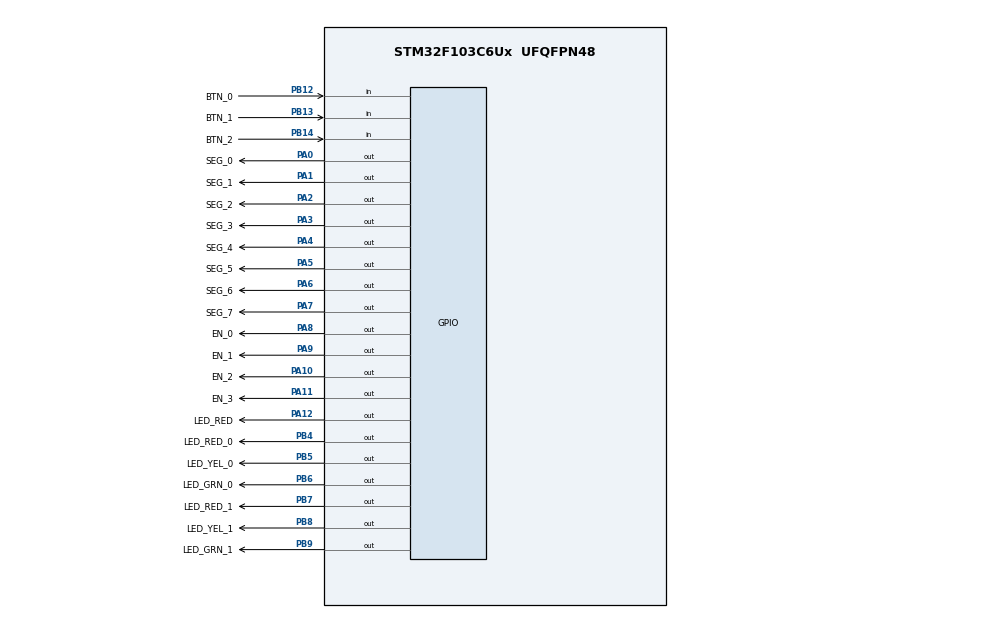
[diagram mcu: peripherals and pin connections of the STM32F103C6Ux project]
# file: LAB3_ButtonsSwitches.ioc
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Mcu.Family=STM32F1
Mcu.Name=STM32F103C6Ux
Mcu.Package=UFQFPN48
NVIC.PriorityGroup=NVIC_PRIORITYGROUP_4
NVIC.TIM2_IRQn=true\:0\:0\:false\:false\:true\:true\:true
PA0-WKUP.GPIO_Label=SEG_0
PA0-WKUP.PinState=GPIO_PIN_RESET
PA0-WKUP.Signal=GPIO_Output
PA1.GPIO_Label=SEG_1
PA1.PinState=GPIO_PIN_RESET
PA1.Signal=GPIO_Output
PA10.GPIO_Label=EN_2
PA10.PinState=GPIO_PIN_SET
PA10.Signal=GPIO_Output
PA11.GPIO_Label=EN_3
PA11.PinState=GPIO_PIN_SET
PA11.Signal=GPIO_Output
PA12.GPIO_Label=LED_RED
PA12.Signal=GPIO_Output
PA13.Mode=Serial_Wire
PA13.Signal=SYS_JTMS-SWDIO
PA14.Mode=Serial_Wire
PA14.Signal=SYS_JTCK-SWCLK
PA2.GPIO_Label=SEG_2
PA2.PinState=GPIO_PIN_RESET
PA2.Signal=GPIO_Output
PA3.GPIO_Label=SEG_3
PA3.PinState=GPIO_PIN_RESET
PA3.Signal=GPIO_Output
PA4.GPIO_Label=SEG_4
PA4.PinState=GPIO_PIN_RESET
PA4.Signal=GPIO_Output
PA5.GPIO_Label=SEG_5
PA5.PinState=GPIO_PIN_RESET
PA5.Signal=GPIO_Output
PA6.GPIO_Label=SEG_6
PA6.PinState=GPIO_PIN_RESET
PA6.Signal=GPIO_Output
PA7.GPIO_Label=SEG_7
PA7.PinState=GPIO_PIN_RESET
PA7.Signal=GPIO_Output
PA8.GPIO_Label=EN_0
PA8.PinState=GPIO_PIN_SET
PA8.Signal=GPIO_Output
PA9.GPIO_Label=EN_1
PA9.PinState=GPIO_PIN_SET
PA9.Signal=GPIO_Output
PB12.GPIO_Label=BTN_0
PB12.GPIO_PuPd=GPIO_NOPULL
PB12.Signal=GPIO_Input
PB13.GPIO_Label=BTN_1
PB13.Signal=GPIO_Input
PB14.GPIO_Label=BTN_2
PB14.Signal=GPIO_Input
PB4.GPIO_Label=LED_RED_0
PB4.Signal=GPIO_Output
PB5.GPIO_Label=LED_YEL_0
PB5.Signal=GPIO_Output
PB6.GPIO_Label=LED_GRN_0
PB6.Signal=GPIO_Output
PB7.GPIO_Label=LED_RED_1
PB7.Signal=GPIO_Output
PB8.GPIO_Label=LED_YEL_1
PB8.Signal=GPIO_Output
PB9.GPIO_Label=LED_GRN_1
PB9.Signal=GPIO_Output
ProjectManager.HeapSize=0x200
ProjectManager.StackSize=0x400
ProjectManager.TargetToolchain=STM32CubeIDE
RCC.APB1Freq_Value=8000000
RCC.APB2Freq_Value=8000000
TIM2.Period=9
TIM2.Prescaler=799
VP_TIM2_VS_ClockSourceINT.Mode=Internal
board=custom

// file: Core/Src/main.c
/* USER CODE BEGIN Header */
/**
  ******************************************************************************
  * @file           : main.c
  * @brief          : Main program body
  ******************************************************************************
  * @attention
  *
  * <h2><center>&copy; Copyright (c) 2024 STMicroelectronics.
  * All rights reserved.</center></h2>
  *
  * This software component is licensed by ST under BSD 3-Clause license,
  * the "License"; You may not use this file except in compliance with the
  * License. You may obtain a copy of the License at:
  *                        opensource.org/licenses/BSD-3-Clause
  *
  ******************************************************************************
  */
/* USER CODE END Header */
#include "main.h"

/* USER CODE BEGIN Includes */
#include "software_timer.h"
#include "traffic_light.h"
/* USER CODE END Includes */

TIM_HandleTypeDef htim2;

void SystemClock_Config(void);
static void MX_GPIO_Init(void);
static void MX_TIM2_Init(void);
/* USER CODE BEGIN PFP */
void HAL_TIM_PeriodElapsedCallback(TIM_HandleTypeDef *htim);
/* USER CODE END PFP */

int main(void)
{

  /* MCU Configuration--------------------------------------------------------*/

  /* Reset of all peripherals, Initializes the Flash interface and the Systick. */
  HAL_Init();

  /* Configure the system clock */
  SystemClock_Config();

  /* Initialize all configured peripherals */
  MX_GPIO_Init();
  MX_TIM2_Init();
  /* USER CODE BEGIN 2 */
  HAL_TIM_Base_Start_IT(&htim2);
  setTimer(TIMER_STATUS, TIME_STATUS);
  setTimer(TIMER_READ_BTN, TIME_READ_BTN);
  /* USER CODE END 2 */

  /* Infinite loop */
  /* USER CODE BEGIN WHILE */
  while (1)
  {
	if (isFlag(TIMER_STATUS))
	{
	  HAL_GPIO_TogglePin(LED_RED_GPIO_Port, LED_RED_Pin);
	  setTimer(TIMER_STATUS, TIME_STATUS);
	}

	if (isFlag(TIMER_READ_BTN))
	{
		getKeyInput(&button0);
		getKeyInput(&button1);
		getKeyInput(&button2);

		setTimer(TIMER_READ_BTN, TIME_READ_BTN);
	}

	if (1)
	{
	  fsm_traffic_light();
	}
    /* USER CODE END WHILE */

  }
}

void SystemClock_Config(void)
{
  RCC_OscInitTypeDef RCC_OscInitStruct = {0};
  RCC_ClkInitTypeDef RCC_ClkInitStruct = {0};

  /** Initializes the RCC Oscillators according to the specified parameters
  * in the RCC_OscInitTypeDef structure.
  */
  RCC_OscInitStruct.OscillatorType = RCC_OSCILLATORTYPE_HSI;
  RCC_OscInitStruct.HSIState = RCC_HSI_ON;
  RCC_OscInitStruct.HSICalibrationValue = RCC_HSICALIBRATION_DEFAULT;
  RCC_OscInitStruct.PLL.PLLState = RCC_PLL_NONE;
  if (HAL_RCC_OscConfig(&RCC_OscInitStruct) != HAL_OK)
  {
    Error_Handler();
  }
  /** Initializes the CPU, AHB and APB buses clocks
  */
  RCC_ClkInitStruct.ClockType = RCC_CLOCKTYPE_HCLK|RCC_CLOCKTYPE_SYSCLK
                              |RCC_CLOCKTYPE_PCLK1|RCC_CLOCKTYPE_PCLK2;
  RCC_ClkInitStruct.SYSCLKSource = RCC_SYSCLKSOURCE_HSI;
  RCC_ClkInitStruct.AHBCLKDivider = RCC_SYSCLK_DIV1;
  RCC_ClkInitStruct.APB1CLKDivider = RCC_HCLK_DIV1;
  RCC_ClkInitStruct.APB2CLKDivider = RCC_HCLK_DIV1;

  if (HAL_RCC_ClockConfig(&RCC_ClkInitStruct, FLASH_LATENCY_0) != HAL_OK)
  {
    Error_Handler();
  }
}

static void MX_TIM2_Init(void)
{

  TIM_ClockConfigTypeDef sClockSourceConfig = {0};
  TIM_MasterConfigTypeDef sMasterConfig = {0};

  htim2.Instance = TIM2;
  htim2.Init.Prescaler = 799;
  htim2.Init.CounterMode = TIM_COUNTERMODE_UP;
  htim2.Init.Period = 9;
  htim2.Init.ClockDivision = TIM_CLOCKDIVISION_DIV1;
  htim2.Init.AutoReloadPreload = TIM_AUTORELOAD_PRELOAD_DISABLE;
  if (HAL_TIM_Base_Init(&htim2) != HAL_OK)
  {
    Error_Handler();
  }
  sClockSourceConfig.ClockSource = TIM_CLOCKSOURCE_INTERNAL;
  if (HAL_TIM_ConfigClockSource(&htim2, &sClockSourceConfig) != HAL_OK)
  {
    Error_Handler();
  }
  sMasterConfig.MasterOutputTrigger = TIM_TRGO_RESET;
  sMasterConfig.MasterSlaveMode = TIM_MASTERSLAVEMODE_DISABLE;
  if (HAL_TIMEx_MasterConfigSynchronization(&htim2, &sMasterConfig) != HAL_OK)
  {
    Error_Handler();
  }

}

static void MX_GPIO_Init(void)
{
  GPIO_InitTypeDef GPIO_InitStruct = {0};

  /* GPIO Ports Clock Enable */
  __HAL_RCC_GPIOA_CLK_ENABLE();
  __HAL_RCC_GPIOB_CLK_ENABLE();

  /*Configure GPIO pin Output Level */
  HAL_GPIO_WritePin(GPIOA, SEG_0_Pin|SEG_1_Pin|SEG_2_Pin|SEG_3_Pin
                          |SEG_4_Pin|SEG_5_Pin|SEG_6_Pin|SEG_7_Pin
                          |LED_RED_Pin, GPIO_PIN_RESET);

  /*Configure GPIO pin Output Level */
  HAL_GPIO_WritePin(GPIOA, EN_0_Pin|EN_1_Pin|EN_2_Pin|EN_3_Pin, GPIO_PIN_SET);

  /*Configure GPIO pin Output Level */
  HAL_GPIO_WritePin(GPIOB, LED_RED_0_Pin|LED_YEL_0_Pin|LED_GRN_0_Pin|LED_RED_1_Pin
                          |LED_YEL_1_Pin|LED_GRN_1_Pin, GPIO_PIN_RESET);

  /*Configure GPIO pins : SEG_0_Pin SEG_1_Pin SEG_2_Pin SEG_3_Pin
                           SEG_4_Pin SEG_5_Pin SEG_6_Pin SEG_7_Pin
                           EN_0_Pin EN_1_Pin EN_2_Pin EN_3_Pin
                           LED_RED_Pin */
  GPIO_InitStruct.Pin = SEG_0_Pin|SEG_1_Pin|SEG_2_Pin|SEG_3_Pin
                          |SEG_4_Pin|SEG_5_Pin|SEG_6_Pin|SEG_7_Pin
                          |EN_0_Pin|EN_1_Pin|EN_2_Pin|EN_3_Pin
                          |LED_RED_Pin;
  GPIO_InitStruct.Mode = GPIO_MODE_OUTPUT_PP;
  GPIO_InitStruct.Pull = GPIO_NOPULL;
  GPIO_InitStruct.Speed = GPIO_SPEED_FREQ_LOW;
  HAL_GPIO_Init(GPIOA, &GPIO_InitStruct);

  /*Configure GPIO pins : BTN_0_Pin BTN_1_Pin BTN_2_Pin */
  GPIO_InitStruct.Pin = BTN_0_Pin|BTN_1_Pin|BTN_2_Pin;
  GPIO_InitStruct.Mode = GPIO_MODE_INPUT;
  GPIO_InitStruct.Pull = GPIO_NOPULL;
  HAL_GPIO_Init(GPIOB, &GPIO_InitStruct);

  /*Configure GPIO pins : LED_RED_0_Pin LED_YEL_0_Pin LED_GRN_0_Pin LED_RED_1_Pin
                           LED_YEL_1_Pin LED_GRN_1_Pin */
  GPIO_InitStruct.Pin = LED_RED_0_Pin|LED_YEL_0_Pin|LED_GRN_0_Pin|LED_RED_1_Pin
                          |LED_YEL_1_Pin|LED_GRN_1_Pin;
  GPIO_InitStruct.Mode = GPIO_MODE_OUTPUT_PP;
  GPIO_InitStruct.Pull = GPIO_NOPULL;
  GPIO_InitStruct.Speed = GPIO_SPEED_FREQ_LOW;
  HAL_GPIO_Init(GPIOB, &GPIO_InitStruct);

}

/* USER CODE BEGIN 4 */
void HAL_TIM_PeriodElapsedCallback(TIM_HandleTypeDef *htim)
{
	timerRun();
}
/* USER CODE END 4 */

void Error_Handler(void)
{
  __disable_irq();
  while (1)
  {
  }
}

/************************ (C) COPYRIGHT STMicroelectronics *****END OF FILE****/
